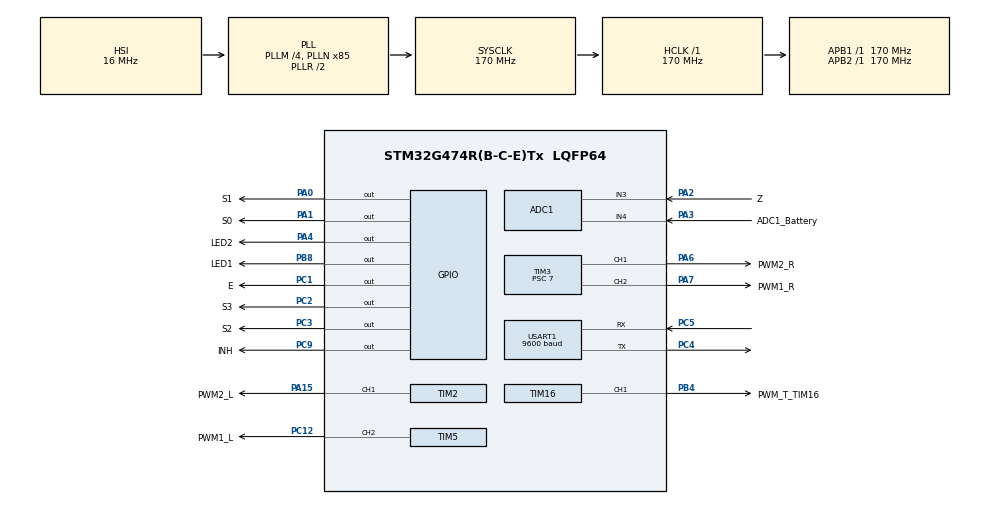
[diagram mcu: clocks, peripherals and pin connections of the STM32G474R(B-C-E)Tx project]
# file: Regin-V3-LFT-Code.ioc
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ADC1.Channel-10\#ChannelRegularConversion=ADC_CHANNEL_4
ADC1.Channel-9\#ChannelRegularConversion=ADC_CHANNEL_3
ADC1.ContinuousConvMode=ENABLE
ADC1.DMAContinuousRequests=ENABLE
ADC1.NbrOfConversion=2
ADC1.NbrOfConversionFlag=1
ADC1.OffsetNumber-10\#ChannelRegularConversion=ADC_OFFSET_NONE
ADC1.Rank-10\#ChannelRegularConversion=2
ADC1.SamplingTime-10\#ChannelRegularConversion=ADC_SAMPLETIME_247CYCLES_5
ADC1.SamplingTime-9\#ChannelRegularConversion=ADC_SAMPLETIME_92CYCLES_5
ADC1.master=1
Dma.ADC1.0.Direction=DMA_PERIPH_TO_MEMORY
Dma.ADC1.0.EventEnable=DISABLE
Dma.ADC1.0.Instance=DMA1_Channel1
Dma.ADC1.0.MemDataAlignment=DMA_MDATAALIGN_HALFWORD
Dma.ADC1.0.MemInc=DMA_MINC_ENABLE
Dma.ADC1.0.Mode=DMA_CIRCULAR
Dma.ADC1.0.PeriphDataAlignment=DMA_PDATAALIGN_HALFWORD
Dma.ADC1.0.PeriphInc=DMA_PINC_DISABLE
Dma.ADC1.0.Polarity=HAL_DMAMUX_REQ_GEN_RISING
Dma.ADC1.0.Priority=DMA_PRIORITY_LOW
Dma.ADC1.0.RequestNumber=1
Dma.ADC1.0.SignalID=NONE
Dma.ADC1.0.SyncEnable=DISABLE
Dma.ADC1.0.SyncPolarity=HAL_DMAMUX_SYNC_NO_EVENT
Dma.ADC1.0.SyncRequestNumber=1
Dma.ADC1.0.SyncSignalID=NONE
Dma.Request0=ADC1
Mcu.Family=STM32G4
Mcu.Name=STM32G474R(B-C-E)Tx
Mcu.Package=LQFP64
NVIC.DMA1_Channel1_IRQn=true\:0\:0\:false\:false\:true\:false\:true\:true
NVIC.PriorityGroup=NVIC_PRIORITYGROUP_4
NVIC.RCC_IRQn=true\:0\:0\:false\:false\:true\:true\:false\:true
NVIC.TIM20_BRK_IRQn=true\:0\:0\:false\:false\:true\:true\:true\:true
NVIC.TIM20_UP_IRQn=true\:0\:0\:false\:false\:true\:true\:true\:true
NVIC.TIM2_IRQn=true\:0\:0\:false\:false\:true\:true\:true\:false
NVIC.TIM5_IRQn=true\:0\:0\:false\:false\:true\:true\:true\:true
NVIC.USART1_IRQn=true\:0\:0\:false\:false\:true\:true\:true\:true
PA0.GPIO_Label=S1
PA0.Signal=GPIO_Output
PA1.GPIO_Label=S0
PA1.Signal=GPIO_Output
PA13.Mode=Serial_Wire
PA13.Signal=SYS_JTMS-SWDIO
PA14.Mode=Serial_Wire
PA14.Signal=SYS_JTCK-SWCLK
PA15.GPIO_Label=PWM2_L
PA15.Signal=S_TIM2_CH1
PA2.GPIO_Label=Z
PA2.Mode=IN3-Single-Ended
PA2.Signal=ADC1_IN3
PA3.GPIO_Label=ADC1_Battery
PA3.Mode=IN4-Single-Ended
PA3.Signal=ADC1_IN4
PA4.GPIO_Label=LED2
PA4.Signal=GPIO_Output
PA6.GPIO_Label=PWM2_R
PA6.Signal=S_TIM3_CH1
PA7.GPIO_Label=PWM1_R
PA7.Signal=S_TIM3_CH2
PB4.GPIO_Label=PWM_T_TIM16
PB4.Signal=S_TIM16_CH1
PB8-BOOT0.GPIO_Label=LED1
PB8-BOOT0.Signal=GPIO_Output
PC1.GPIO_Label=E
PC1.Signal=GPIO_Output
PC12.GPIO_Label=PWM1_L
PC12.Signal=S_TIM5_CH2
PC2.GPIO_Label=S3
PC2.Signal=GPIO_Output
PC3.GPIO_Label=S2
PC3.Signal=GPIO_Output
PC4.Mode=Asynchronous
PC4.Signal=USART1_TX
PC5.Mode=Asynchronous
PC5.Signal=USART1_RX
PC9.GPIO_Label=INH
PC9.Signal=GPIO_Output
ProjectManager.HeapSize=0x200
ProjectManager.StackSize=0x400
ProjectManager.TargetToolchain=STM32CubeIDE
RCC.ADC12Freq_Value=170000000
RCC.ADC345Freq_Value=170000000
RCC.AHBFreq_Value=170000000
RCC.APB1Freq_Value=170000000
RCC.APB1TimFreq_Value=170000000
RCC.APB2Freq_Value=170000000
RCC.APB2TimFreq_Value=170000000
RCC.CK48CLockSelection=RCC_USBCLKSOURCE_HSI48
RCC.CortexFreq_Value=170000000
RCC.EXTERNAL_CLOCK_VALUE=12288000
RCC.HCLKFreq_Value=170000000
RCC.HSE_VALUE=24000000
RCC.HSI48_VALUE=48000000
RCC.HSI_VALUE=16000000
RCC.LSE_VALUE=32768
RCC.PLLM=RCC_PLLM_DIV4
RCC.PLLN=85
RCC.SYSCLKFreq_VALUE=170000000
RCC.SYSCLKSource=RCC_SYSCLKSOURCE_PLLCLK
RCC.USBFreq_Value=48000000
RCC.VCOOutputFreq_Value=340000000
SH.S_TIM16_CH1.0=TIM16_CH1,PWM Generation1 CH1
SH.S_TIM2_CH1.0=TIM2_CH1,PWM Generation1 CH1
SH.S_TIM3_CH1.0=TIM3_CH1,PWM Generation1 CH1
SH.S_TIM3_CH2.0=TIM3_CH2,PWM Generation2 CH2
SH.S_TIM5_CH2.0=TIM5_CH2,PWM Generation2 CH2
TIM1.CounterMode=TIM_COUNTERMODE_UP
TIM1.Dithering=Disable
TIM1.PeriodNoDither=65535
TIM1.Prescaler=169
TIM16.Channel=TIM_CHANNEL_1
TIM16.PeriodNoDither=19999
TIM16.Prescaler=169
TIM2.Channel-PWM\ Generation1\ CH1=TIM_CHANNEL_1
TIM2.PeriodNoDither=999
TIM2.Prescaler=7
TIM20.CounterMode=TIM_COUNTERMODE_DOWN
TIM20.PeriodNoDither=499
TIM20.Prescaler=169
TIM3.Channel-PWM\ Generation1\ CH1=TIM_CHANNEL_1
TIM3.Channel-PWM\ Generation2\ CH2=TIM_CHANNEL_2
TIM3.PeriodNoDither=999
TIM3.Prescaler=7
TIM5.Channel-PWM\ Generation2\ CH2=TIM_CHANNEL_2
TIM5.CounterMode=TIM_COUNTERMODE_UP
TIM5.PeriodNoDither=999
TIM5.Prescaler=7
USART1.BaudRate=9600
USART1.VirtualMode-Asynchronous=VM_ASYNC
VP_FATFS_VS_Generic.Mode=User_defined
VP_SYS_VS_DBSignals.Mode=DisableDeadBatterySignals
VP_TIM16_VS_ClockSourceINT.Mode=Enable_Timer
VP_TIM1_VS_ClockSourceINT.Mode=Internal
VP_TIM20_VS_ClockSourceINT.Mode=Internal
VP_TIM2_VS_ClockSourceINT.Mode=Internal
VP_TIM3_VS_ClockSourceINT.Mode=Internal
VP_TIM5_VS_ClockSourceINT.Mode=Internal
board=custom

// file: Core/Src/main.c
/* USER CODE BEGIN Header */
/**
  ******************************************************************************
  * @file           : main.c
  * @brief          : Main program body
  ******************************************************************************
  * @attention
  *
  * Copyright (c) 2025 STMicroelectronics.
  * All rights reserved.
  *
  * This software is licensed under terms that can be found in the LICENSE file
  * in the root directory of this software component.
  * If no LICENSE file comes with this software, it is provided AS-IS.
  *
  ******************************************************************************
  */
/* USER CODE END Header */
#include "main.h"
#include "adc.h"
#include "dma.h"
#include "app_fatfs.h"
#include "tim.h"
#include "usart.h"
#include "gpio.h"

/* USER CODE BEGIN Includes */
#include "Line_Follower.h"
#include "SimpleParser.h"
#include "RingBuffer.h"
#include "robot_config.h"
/* USER CODE END Includes */

/* USER CODE BEGIN PV */
LineFollower_t GRUZIK;

/*Communication (GRUZIK4.0 app protocol, see SimpleParser.c)*/
uint8_t RxData;
RingBuffer_t ReceiveBuffer;
uint8_t ReceivedData[PARSER_LINE_BUFFER_SIZE];
volatile uint8_t ReceivedLines;

uint8_t Vaccuming;
uint32_t Vaccuming_Timer;

/* USER CODE END PV */

void SystemClock_Config(void);
/* USER CODE BEGIN PFP */

void delay_us (uint16_t us) //Blocking function
{
	__HAL_TIM_SET_COUNTER(&htim1,0);  // set the counter value a 0
	while (__HAL_TIM_GET_COUNTER(&htim1) < us);  // wait for the counter to reach the us input in the parameter
}

void SensorRead()
{
    for(uint8_t val = 0; val < 16; val++)
    {
        HAL_GPIO_WritePin(S0_GPIO_Port, S0_Pin, (val & 0x08) ? GPIO_PIN_SET : GPIO_PIN_RESET);
        HAL_GPIO_WritePin(S1_GPIO_Port, S1_Pin, (val & 0x04) ? GPIO_PIN_SET : GPIO_PIN_RESET);
        HAL_GPIO_WritePin(S2_GPIO_Port, S2_Pin, (val & 0x02) ? GPIO_PIN_SET : GPIO_PIN_RESET);
        HAL_GPIO_WritePin(S3_GPIO_Port, S3_Pin, (val & 0x01) ? GPIO_PIN_SET : GPIO_PIN_RESET);

        delay_us(25);

        GRUZIK.SensorArray[val] = GRUZIK.Adc1_Values[0];
    }
}

void ESC_SetThrottle(uint16_t us)
{
    if(us < ROBOT_ESC_MIN_US) us = ROBOT_ESC_MIN_US;
    if(us > ROBOT_ESC_MAX_US) us = ROBOT_ESC_MAX_US;

    __HAL_TIM_SET_COMPARE(&htim16, TIM_CHANNEL_1, us);
}

void ESC_Arm(void)
{
    ESC_SetThrottle(ROBOT_ESC_MIN_US);         // ustaw minimum gazu
    HAL_Delay(3000);                           // 3 sekundy stabilnego sygnału
}

static void Motors_Brake(void)
{
	/*Both half bridges high = brake*/
	HAL_GPIO_WritePin(INH_GPIO_Port, INH_Pin, GPIO_PIN_SET);
	__HAL_TIM_SET_COMPARE(&htim5, TIM_CHANNEL_2, 999);
	__HAL_TIM_SET_COMPARE(&htim2, TIM_CHANNEL_1, 999);
	__HAL_TIM_SET_COMPARE(&htim3, TIM_CHANNEL_2, 999);
	__HAL_TIM_SET_COMPARE(&htim3, TIM_CHANNEL_1, 999);
}
/* USER CODE END PFP */

int main(void)
{

  /* MCU Configuration--------------------------------------------------------*/

  /* Reset of all peripherals, Initializes the Flash interface and the Systick. */
  HAL_Init();

  /* Configure the system clock */
  SystemClock_Config();

  /* Initialize all configured peripherals */
  MX_GPIO_Init();
  MX_DMA_Init();
  MX_ADC1_Init();
  MX_TIM2_Init();
  MX_TIM5_Init();
  MX_TIM20_Init();
  if (MX_FATFS_Init() != APP_OK) {
    Error_Handler();
  }
  MX_TIM3_Init();
  MX_TIM16_Init();
  MX_USART1_UART_Init();
  MX_TIM1_Init();
  /* USER CODE BEGIN 2 */
  /*ANTI BOOM BOOM DELAY*/
  //HAL_Delay(1000);

  /*GRUZIK STATE SETING*/
   GRUZIK.PowerMode = Initialization;
   GRUZIK.state = PidFollowing;

 	/*Initial setting for robot*/
   	if(GRUZIK.state == PidFollowing)
   	{
   	   /*PID*/
   	   GRUZIK.Kp = 0.015;
   	   GRUZIK.Kd = 0.55;
 		/*Motors settings*/
 		GRUZIK.Base_speed_R = 125;
 		GRUZIK.Base_speed_L = 125;
 		GRUZIK.Max_speed_L = 200;
 		GRUZIK.Max_speed_R = 200;
 		GRUZIK.Sharp_bend_speed_right = -75;
 		GRUZIK.Sharp_bend_speed_left = 120;
 		GRUZIK.Bend_speed_right = -75;
 		GRUZIK.Bend_speed_left = 120;
   	}

   	GRUZIK.Speed_offset = 0.014;
   	GRUZIK.Turbine_Prep_Time = ROBOT_TURBINE_PREP_DEFAULT_MS;

   	HAL_GPIO_WritePin(E_GPIO_Port, E_Pin, GPIO_PIN_RESET);

   	//TIM20 200Hz control loop, TIM1 1MHz counter for delay_us
	HAL_TIM_Base_Start_IT(&htim20);
	HAL_TIM_Base_Start(&htim1);

	HAL_TIM_PWM_Start(&htim3, TIM_CHANNEL_1); //PWM2_R
	HAL_TIM_PWM_Start(&htim3, TIM_CHANNEL_2); //PWM2_L

	HAL_TIM_PWM_Start(&htim5, TIM_CHANNEL_2); //PWM1_L
	HAL_TIM_PWM_Start(&htim2, TIM_CHANNEL_1); //PWM1_R
	HAL_TIM_PWM_Start(&htim16, TIM_CHANNEL_1); //PWM_T
	ESC_Arm();
	GRUZIK.Turbine_Speed = 1100;

    /*Start receiving data from Blue tooth*/
    HAL_ADC_Start_DMA(&hadc1, (uint32_t*)&GRUZIK.Adc1_Values, 2);
    HAL_UART_Receive_IT(&huart1, &RxData, 1);

    uint32_t lasttime1 = HAL_GetTick();

    /*Erase all channels*/
    __HAL_TIM_SET_COMPARE(&htim5, TIM_CHANNEL_2, 0);
    __HAL_TIM_SET_COMPARE(&htim2, TIM_CHANNEL_1, 0);
    __HAL_TIM_SET_COMPARE(&htim3, TIM_CHANNEL_2, 0);
    __HAL_TIM_SET_COMPARE(&htim3, TIM_CHANNEL_1, 0);

    /*Sensor Preparation and entering STOP mode*/
    GRUZIK.treshold = 3700;//1500
    GRUZIK.LineFollowing = 0;
    GRUZIK.PowerMode = Stop;
  /* USER CODE END 2 */

  /* Infinite loop */
  while (1)
  {

    /* USER CODE BEGIN 3 */
	  SensorRead();//multiplekser link, blocking function

	  /*Blink LED1*/
	if(HAL_GetTick() > (lasttime1 + 500))
	{
	  lasttime1 = HAL_GetTick();
	  HAL_GPIO_TogglePin(LED2_GPIO_Port, LED2_Pin);
	  HAL_GPIO_TogglePin(LED1_GPIO_Port, LED1_Pin);
	}
	/*Bluetooth check*/
	if(ReceivedLines > 0)
	{
	  Parser_TakeLine(&ReceiveBuffer, ReceivedData);

	  __disable_irq();
	  ReceivedLines--;
	  __enable_irq();

	  Parser_Parse(ReceivedData,&GRUZIK);
	}

	/*Line sensor stream for the app Debug tab, only while stopped*/
	Parser_ServiceTelemetry(&GRUZIK);
  }
  /* USER CODE END 3 */
}

void SystemClock_Config(void)
{
  RCC_OscInitTypeDef RCC_OscInitStruct = {0};
  RCC_ClkInitTypeDef RCC_ClkInitStruct = {0};

  /** Configure the main internal regulator output voltage
  */
  HAL_PWREx_ControlVoltageScaling(PWR_REGULATOR_VOLTAGE_SCALE1_BOOST);

  /** Initializes the RCC Oscillators according to the specified parameters
  * in the RCC_OscInitTypeDef structure.
  */
  RCC_OscInitStruct.OscillatorType = RCC_OSCILLATORTYPE_HSI;
  RCC_OscInitStruct.HSIState = RCC_HSI_ON;
  RCC_OscInitStruct.HSICalibrationValue = RCC_HSICALIBRATION_DEFAULT;
  RCC_OscInitStruct.PLL.PLLState = RCC_PLL_ON;
  RCC_OscInitStruct.PLL.PLLSource = RCC_PLLSOURCE_HSI;
  RCC_OscInitStruct.PLL.PLLM = RCC_PLLM_DIV4;
  RCC_OscInitStruct.PLL.PLLN = 85;
  RCC_OscInitStruct.PLL.PLLP = RCC_PLLP_DIV2;
  RCC_OscInitStruct.PLL.PLLQ = RCC_PLLQ_DIV2;
  RCC_OscInitStruct.PLL.PLLR = RCC_PLLR_DIV2;
  if (HAL_RCC_OscConfig(&RCC_OscInitStruct) != HAL_OK)
  {
    Error_Handler();
  }

  /** Initializes the CPU, AHB and APB buses clocks
  */
  RCC_ClkInitStruct.ClockType = RCC_CLOCKTYPE_HCLK|RCC_CLOCKTYPE_SYSCLK
                              |RCC_CLOCKTYPE_PCLK1|RCC_CLOCKTYPE_PCLK2;
  RCC_ClkInitStruct.SYSCLKSource = RCC_SYSCLKSOURCE_PLLCLK;
  RCC_ClkInitStruct.AHBCLKDivider = RCC_SYSCLK_DIV1;
  RCC_ClkInitStruct.APB1CLKDivider = RCC_HCLK_DIV1;
  RCC_ClkInitStruct.APB2CLKDivider = RCC_HCLK_DIV1;

  if (HAL_RCC_ClockConfig(&RCC_ClkInitStruct, FLASH_LATENCY_4) != HAL_OK)
  {
    Error_Handler();
  }
}

/* USER CODE BEGIN 4 */
//Bluetooth communication
void HAL_UART_RxCpltCallback(UART_HandleTypeDef *huart)
{
	if(huart->Instance == USART1)
	{
		if(RB_Write(&ReceiveBuffer, RxData) == RB_OK)
		{
			if(RxData == ENDLINE)
			{
				ReceivedLines++;
			}
		}
		else if(ReceivedLines == 0)
		{
			/*Buffer full without a complete line, drop the garbage so new commands still get in*/
			RB_Flush(&ReceiveBuffer);
		}
    	HAL_UART_Receive_IT(&huart1,&RxData, 1);
	}
}

void HAL_TIM_PeriodElapsedCallback(TIM_HandleTypeDef *htim)
{
	//Motor control and PID 200Hz
	if(htim->Instance == TIM20)
	{
		/*Timer registers monitoring*/
		GRUZIK.PWML_FRONT = __HAL_TIM_GET_COMPARE(&htim5, TIM_CHANNEL_2);
		GRUZIK.PWML_BACK = __HAL_TIM_GET_COMPARE(&htim2, TIM_CHANNEL_1);
		GRUZIK.PWMR_FRONT = __HAL_TIM_GET_COMPARE(&htim3, TIM_CHANNEL_2);
		GRUZIK.PWMR_BACK = __HAL_TIM_GET_COMPARE(&htim3, TIM_CHANNEL_1);

		/*Startup,communication & motor management*/
		//PID_control(&GRUZIK);

		if(GRUZIK.PowerMode == Start)
		{
			HAL_GPIO_WritePin(INH_GPIO_Port, INH_Pin, GPIO_PIN_SET);
			/*Following the line after the vacuuming part (Turbine_Prep_Time) is done*/
			if((Vaccuming != 1))
			{
				Vaccuming = 1;
				Vaccuming_Timer = HAL_GetTick();

				ESC_SetThrottle(GRUZIK.Turbine_Speed);
			}
			if((HAL_GetTick() - Vaccuming_Timer) >= GRUZIK.Turbine_Prep_Time)
			{
				PID_control(&GRUZIK);
			}
		}
		else
		{
			Vaccuming = 0;

			/*STOP Turbine*/
			ESC_SetThrottle(ROBOT_ESC_MIN_US);

			/*Joystick and tire cleaning from the app drive the motors directly*/
			Parser_ServiceManualDriveTimeout(&GRUZIK);
			if((ManualDriveActive != 0u) || (TireCleaningActive != 0u))
			{
				HAL_GPIO_WritePin(INH_GPIO_Port, INH_Pin, GPIO_PIN_SET);
			}
			else
			{
				Motors_Brake();
			}
		}
	}
}
/* USER CODE END 4 */

void Error_Handler(void)
{
  __disable_irq();
  while (1)
  {
  }
}
